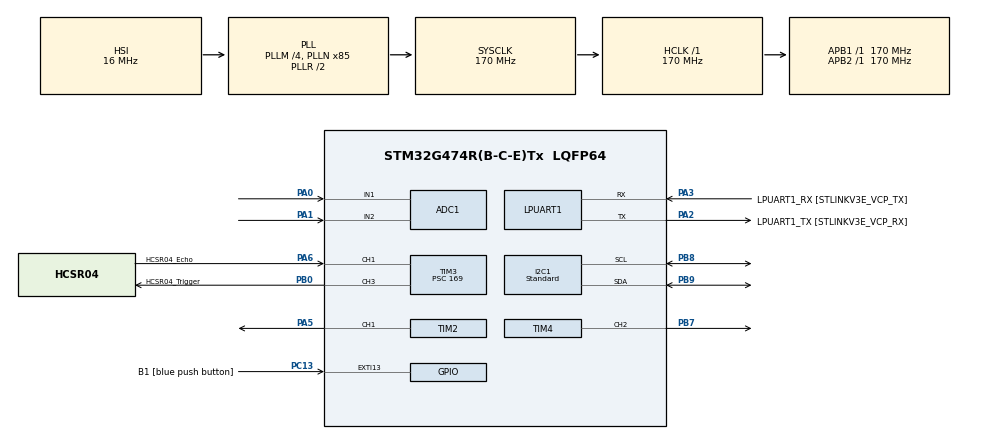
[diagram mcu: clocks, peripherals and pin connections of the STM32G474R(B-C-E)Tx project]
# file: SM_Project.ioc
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ADC1.Channel-0\#ChannelRegularConversion=ADC_CHANNEL_1
ADC1.Channel-1\#ChannelRegularConversion=ADC_CHANNEL_2
ADC1.ContinuousConvMode=ENABLE
ADC1.DMAContinuousRequests=ENABLE
ADC1.NbrOfConversion=2
ADC1.NbrOfConversionFlag=1
ADC1.OffsetNumber-0\#ChannelRegularConversion=ADC_OFFSET_NONE
ADC1.OffsetNumber-1\#ChannelRegularConversion=ADC_OFFSET_NONE
ADC1.Rank-0\#ChannelRegularConversion=1
ADC1.Rank-1\#ChannelRegularConversion=2
ADC1.SamplingTime-0\#ChannelRegularConversion=ADC_SAMPLETIME_92CYCLES_5
ADC1.SamplingTime-1\#ChannelRegularConversion=ADC_SAMPLETIME_92CYCLES_5
ADC1.master=1
Dma.ADC1.0.Direction=DMA_PERIPH_TO_MEMORY
Dma.ADC1.0.EventEnable=DISABLE
Dma.ADC1.0.Instance=DMA1_Channel1
Dma.ADC1.0.MemDataAlignment=DMA_MDATAALIGN_HALFWORD
Dma.ADC1.0.MemInc=DMA_MINC_ENABLE
Dma.ADC1.0.Mode=DMA_CIRCULAR
Dma.ADC1.0.PeriphDataAlignment=DMA_PDATAALIGN_HALFWORD
Dma.ADC1.0.PeriphInc=DMA_PINC_DISABLE
Dma.ADC1.0.Polarity=HAL_DMAMUX_REQ_GEN_RISING
Dma.ADC1.0.Priority=DMA_PRIORITY_LOW
Dma.ADC1.0.RequestNumber=1
Dma.ADC1.0.SignalID=NONE
Dma.ADC1.0.SyncEnable=DISABLE
Dma.ADC1.0.SyncPolarity=HAL_DMAMUX_SYNC_NO_EVENT
Dma.ADC1.0.SyncRequestNumber=1
Dma.ADC1.0.SyncSignalID=NONE
Dma.Request0=ADC1
I2C1.I2C_Speed_Mode=I2C_Standard
I2C1.Timing=0x40B285C2
Mcu.Family=STM32G4
Mcu.Name=STM32G474R(B-C-E)Tx
Mcu.Package=LQFP64
NVIC.DMA1_Channel1_IRQn=true\:0\:0\:false\:false\:true\:false\:true\:true
NVIC.EXTI15_10_IRQn=true\:0\:0\:false\:false\:true\:true\:true\:true
NVIC.PriorityGroup=NVIC_PRIORITYGROUP_4
NVIC.TIM3_IRQn=true\:0\:0\:false\:false\:true\:true\:true\:true
PA0.Mode=IN1-Single-Ended
PA0.Signal=ADC1_IN1
PA1.Mode=IN2-Single-Ended
PA1.Signal=ADC1_IN2
PA13.GPIO_Label=T_SWDIO
PA13.Mode=Serial_Wire
PA13.Signal=SYS_JTMS-SWDIO
PA14.GPIO_Label=T_SWCLK
PA14.Mode=Serial_Wire
PA14.Signal=SYS_JTCK-SWCLK
PA2.GPIO_Label=LPUART1_TX [STLINKV3E_VCP_RX]
PA2.Mode=Asynchronous
PA2.Signal=LPUART1_TX
PA3.GPIO_Label=LPUART1_RX [STLINKV3E_VCP_TX]
PA3.Mode=Asynchronous
PA3.Signal=LPUART1_RX
PA5.Signal=S_TIM2_CH1
PA6.GPIO_Label=HCSR04_Echo
PA6.Signal=S_TIM3_CH1
PB0.GPIO_Label=HCSR04_Trigger
PB0.Signal=S_TIM3_CH3
PB3.GPIO_Label=T_SWO
PB3.Signal=SYS_JTDO-SWO
PB7.Signal=S_TIM4_CH2
PB8-BOOT0.Mode=I2C
PB8-BOOT0.Signal=I2C1_SCL
PB9.Mode=I2C
PB9.Signal=I2C1_SDA
PC13.GPIO_Label=B1 [blue push button]
PC13.Signal=GPXTI13
PC14-OSC32_IN.GPIO_Label=RCC_OSC32_IN
PC14-OSC32_IN.Mode=LSE-External-Oscillator
PC14-OSC32_IN.Signal=RCC_OSC32_IN
PC15-OSC32_OUT.GPIO_Label=RCC_OSC32_OUT
PC15-OSC32_OUT.Mode=LSE-External-Oscillator
PC15-OSC32_OUT.Signal=RCC_OSC32_OUT
PF0-OSC_IN.GPIO_Label=RCC_OSC_IN
PF0-OSC_IN.Mode=HSE-External-Oscillator
PF0-OSC_IN.Signal=RCC_OSC_IN
PF1-OSC_OUT.GPIO_Label=RCC_OSC_OUT
PF1-OSC_OUT.Mode=HSE-External-Oscillator
PF1-OSC_OUT.Signal=RCC_OSC_OUT
ProjectManager.HeapSize=0x200
ProjectManager.StackSize=0x400
ProjectManager.TargetToolchain=STM32CubeIDE
RCC.ADC12Freq_Value=170000000
RCC.ADC345Freq_Value=170000000
RCC.AHBFreq_Value=170000000
RCC.APB1Freq_Value=170000000
RCC.APB1TimFreq_Value=170000000
RCC.APB2Freq_Value=170000000
RCC.APB2TimFreq_Value=170000000
RCC.CortexFreq_Value=170000000
RCC.EXTERNAL_CLOCK_VALUE=12288000
RCC.HCLKFreq_Value=170000000
RCC.HSE_VALUE=24000000
RCC.HSI48_VALUE=48000000
RCC.HSI_VALUE=16000000
RCC.PLLM=RCC_PLLM_DIV4
RCC.PLLN=85
RCC.RTCClockSelection=RCC_RTCCLKSOURCE_LSE
RCC.SYSCLKFreq_VALUE=170000000
RCC.SYSCLKSource=RCC_SYSCLKSOURCE_PLLCLK
RCC.USBFreq_Value=170000000
RCC.VCOOutputFreq_Value=340000000
SH.S_TIM2_CH1.0=TIM2_CH1,PWM Generation1 CH1
SH.S_TIM3_CH1.0=TIM3_CH1,Input_Capture1_from_TI1
SH.S_TIM3_CH3.0=TIM3_CH3,PWM Generation3 CH3
SH.S_TIM4_CH2.0=TIM4_CH2,PWM Generation2 CH2
TIM2.Channel-PWM\ Generation1\ CH1=TIM_CHANNEL_1
TIM2.PeriodNoDither=999
TIM2.Prescaler=84
TIM2.PulseNoDither_1=499
TIM3.Channel-Input_Capture1_from_TI1=TIM_CHANNEL_1
TIM3.Channel-Input_Capture2_from_TI1_63=TIM_CHANNEL_2
TIM3.Channel-PWM\ Generation3\ CH3=TIM_CHANNEL_3
TIM3.ICPolarity_CH2=TIM_INPUTCHANNELPOLARITY_FALLING
TIM3.Prescaler=169
TIM3.PulseNoDither_3=11
TIM4.AutoReloadPreload=TIM_AUTORELOAD_PRELOAD_ENABLE
TIM4.Channel-PWM\ Generation2\ CH2=TIM_CHANNEL_2
TIM4.PeriodNoDither=19999
TIM4.Prescaler=169
VP_SYS_VS_DBSignals.Mode=DisableDeadBatterySignals
VP_TIM2_VS_ClockSourceINT.Mode=Internal
VP_TIM3_VS_ClockSourceINT.Mode=Internal
VP_TIM3_VS_indirect_ch1.Mode=Input_Capture2_from_TI1_63
VP_TIM4_VS_ClockSourceINT.Mode=Internal
board=NUCLEO-G474RE

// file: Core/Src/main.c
/* USER CODE BEGIN Header */
/**
  ******************************************************************************
  * @file           : main.c
  * @brief          : Main program body
  ******************************************************************************
  * @attention
  *
  * Copyright (c) 2026 STMicroelectronics.
  * All rights reserved.
  *
  * This software is licensed under terms that can be found in the LICENSE file
  * in the root directory of this software component.
  * If no LICENSE file comes with this software, it is provided AS-IS.
  *
  ******************************************************************************
  */
/* USER CODE END Header */
#include "main.h"
#include "adc.h"
#include "dma.h"
#include "i2c.h"
#include "usart.h"
#include "tim.h"
#include "gpio.h"

/* USER CODE BEGIN Includes */
#include "hcsr04.h"
#include "SSD1306_OLED.h"
#include "GFX_BW.h"
#include "fonts/fonts.h"
#include <stdio.h>
#include "servo.h"
/* USER CODE END Includes */

/* USER CODE BEGIN PM */
#define HCSR04_TRIGGER_TIMER		htim3
#define HCSR04_ECHO_TIMER			htim3
#define HCSR04_TRIGGER_CHANNEL		TIM_CHANNEL_3
#define HCSR04_ECHO_START_CHANNEL	TIM_CHANNEL_1
#define HCSR04_ECHO_STOP_CHANNEL	TIM_CHANNEL_2

#define ADC_CHANNELS_USED				2
#define ADC_CHANNELS_SAMPLES			10
#define ADC_MIN							0
#define ADC_MAX							4095
/* USER CODE END PM */

/* USER CODE BEGIN PV */
// Creation of rangefinder and servo "objects"
HCSR04_t HCSR04;
servo_t SERVO;

// Variable for storing the distance from HCSR04
uint16_t Distance_u16;

// Variable storing the corresponding LED duty cycle
uint16_t LedBrightness;

// 10 measurements for each channel
uint16_t AdcValue[ADC_CHANNELS_SAMPLES][ADC_CHANNELS_USED]; // index = 0 for CH1, index = 1 for CH2

// Variables for storing the average value from 10 ADC measurements
uint16_t MeanX, MeanY;

uint32_t SoftTimerHCSR04;
uint32_t SoftTimerOLED;

char MessageDist[32];
char MessageX[32];
char MessageY[32];
char MessageAngle[32];
/* USER CODE END PV */

void SystemClock_Config(void);

/* USER CODE BEGIN 0 */

// Function for mapping LED brightness depending on distance
// The closer the object, the brighter the LED
float map_distance_led_PWM(float d_cm)
{
    const float d_min = 2.0f;
    const float d_max = 50.0f;

    if (d_cm <= d_min) return 999;
    if (d_cm >= d_max) return 0;

    float t = (d_max - d_cm) / (d_max - d_min);
    return (t * 999.0f);
}

// Function for averaging ADC values (for channels 0 and 1)
void Average_ADC_Values(uint16_t AdcValue[10][2], uint16_t *MeanX, uint16_t *MeanY)
{
    uint32_t MeanXtmp = 0;
    uint32_t MeanYtmp = 0;

    // Summing values from 10 measurements (in this case 10 samples)
    for (uint8_t i = 0; i < 10; i++)
    {
        MeanXtmp += AdcValue[i][0];  // Reading for X channel (e.g. joystick)
        MeanYtmp += AdcValue[i][1];  // Reading for Y channel (e.g. joystick)
    }

    // Calculating averages
    *MeanX = MeanXtmp / 10;
    *MeanY = MeanYtmp / 10;
}

/* USER CODE END 0 */

int main(void)
{

  /* MCU Configuration--------------------------------------------------------*/

  /* Reset of all peripherals, Initializes the Flash interface and the Systick. */
  HAL_Init();

  /* Configure the system clock */
  SystemClock_Config();

  /* Initialize all configured peripherals */
  MX_GPIO_Init();
  MX_DMA_Init();
  MX_I2C1_Init();
  MX_LPUART1_UART_Init();
  MX_TIM3_Init();
  MX_TIM2_Init();
  MX_ADC1_Init();
  MX_TIM4_Init();
  /* USER CODE BEGIN 2 */

  // Starts ADC conversion using DMA; results from ADC channels will be automatically stored in the AdcValue array (joystick reading)
  HAL_ADC_Start_DMA(&hadc1, (uint32_t*)AdcValue, (ADC_CHANNELS_SAMPLES*ADC_CHANNELS_USED));

  // Starts PWM signal generation on timer 2 channel 1 (used to control LED brightness)
  HAL_TIM_PWM_Start(&htim2, TIM_CHANNEL_1);

  // Initialization of the rangefinder, servo and OLED
  HCSR04_Init(&HCSR04, &HCSR04_TRIGGER_TIMER, HCSR04_TRIGGER_CHANNEL, &HCSR04_ECHO_TIMER, HCSR04_ECHO_START_CHANNEL, HCSR04_ECHO_STOP_CHANNEL);
  Servo_Init(&SERVO, &htim4, TIM_CHANNEL_2);
  SSD1306_Init(&hi2c1);

  // Assign font
  GFX_SetFont(font_8x5);
  GFX_SetFontSize(1);

  // Set all pixels to black (off) in the buffer
  // Clear the buffer
  SSD1306_Clear(BLACK);

  // Send the buffer to the display
  SSD1306_Display();

  SoftTimerHCSR04 = HAL_GetTick();
  SoftTimerOLED = HAL_GetTick();
  /* USER CODE END 2 */

  /* Infinite loop */
  while (1)
  {

    /* USER CODE BEGIN 3 */

  	// Calculating the average value for X and Y joystick axes
  	Average_ADC_Values(AdcValue, &MeanX, &MeanY);

  	// Mapping the Y axis to an angle range of 0–180°
  	uint16_t AngleY = map(MeanY, ADC_MIN, ADC_MAX, ANGLE_MIN, ANGLE_MAX);

  	// Changing the servo position according to the calculated angle from the Y axis
  	Servo_SetAngle(&SERVO, AngleY);

  	// Checking if 50 ms have passed since the last HCSR04 distance measurement
  	if((HAL_GetTick() - SoftTimerHCSR04) > 50){
  		// Updating the timer for the next HCSR04 measurement
  		SoftTimerHCSR04 = HAL_GetTick();

  		// Calculating the distance
  		HCSR04_CalculateResultInteger(&HCSR04, &Distance_u16);

  		// Mapping distance to PWM value for the LED (the closer the object, the higher the brightness)
  		LedBrightness = map_distance_led_PWM(Distance_u16);

  		// Setting PWM duty cycle on timer 2 channel 1, which controls LED brightness
  		__HAL_TIM_SET_COMPARE(&htim2, TIM_CHANNEL_1, LedBrightness);
  	}

  	// Checking if 100 ms have passed since the last OLED display update
  	if((HAL_GetTick() - SoftTimerOLED) > 100){
  		// Updating the timer for the next OLED drawing cycle
  		SoftTimerOLED = HAL_GetTick();

  		// Setting all pixels to black,
  		// clearing the buffer before displaying new data
  		SSD1306_Clear(BLACK);

  		sprintf(MessageDist, "Distance: %u cm", Distance_u16);
  		// Displaying the distance measured by the HCSR04
  		GFX_DrawString(0, 0, MessageDist, WHITE, 0);

  		sprintf(MessageX, "X: %u", MeanX);
  		// Displaying the X value of the joystick
  		GFX_DrawString(0, 10, MessageX, WHITE, 0);

  		sprintf(MessageY, "Y: %u", MeanY);
  		// Displaying the Y value of the joystick
  		GFX_DrawString(0, 20, MessageY, WHITE, 0);

  		// Function for displaying the angle with the degree symbol (°)
  		DrawAngleWithDegree(AngleY);

  		// Sending data from the buffer to the display
  		SSD1306_Display();
  	}

  }
  /* USER CODE END 3 */
}

void SystemClock_Config(void)
{
  RCC_OscInitTypeDef RCC_OscInitStruct = {0};
  RCC_ClkInitTypeDef RCC_ClkInitStruct = {0};

  /** Configure the main internal regulator output voltage
  */
  HAL_PWREx_ControlVoltageScaling(PWR_REGULATOR_VOLTAGE_SCALE1_BOOST);

  /** Initializes the RCC Oscillators according to the specified parameters
  * in the RCC_OscInitTypeDef structure.
  */
  RCC_OscInitStruct.OscillatorType = RCC_OSCILLATORTYPE_HSI;
  RCC_OscInitStruct.HSIState = RCC_HSI_ON;
  RCC_OscInitStruct.HSICalibrationValue = RCC_HSICALIBRATION_DEFAULT;
  RCC_OscInitStruct.PLL.PLLState = RCC_PLL_ON;
  RCC_OscInitStruct.PLL.PLLSource = RCC_PLLSOURCE_HSI;
  RCC_OscInitStruct.PLL.PLLM = RCC_PLLM_DIV4;
  RCC_OscInitStruct.PLL.PLLN = 85;
  RCC_OscInitStruct.PLL.PLLP = RCC_PLLP_DIV2;
  RCC_OscInitStruct.PLL.PLLQ = RCC_PLLQ_DIV2;
  RCC_OscInitStruct.PLL.PLLR = RCC_PLLR_DIV2;
  if (HAL_RCC_OscConfig(&RCC_OscInitStruct) != HAL_OK)
  {
    Error_Handler();
  }

  /** Initializes the CPU, AHB and APB buses clocks
  */
  RCC_ClkInitStruct.ClockType = RCC_CLOCKTYPE_HCLK|RCC_CLOCKTYPE_SYSCLK
                              |RCC_CLOCKTYPE_PCLK1|RCC_CLOCKTYPE_PCLK2;
  RCC_ClkInitStruct.SYSCLKSource = RCC_SYSCLKSOURCE_PLLCLK;
  RCC_ClkInitStruct.AHBCLKDivider = RCC_SYSCLK_DIV1;
  RCC_ClkInitStruct.APB1CLKDivider = RCC_HCLK_DIV1;
  RCC_ClkInitStruct.APB2CLKDivider = RCC_HCLK_DIV1;

  if (HAL_RCC_ClockConfig(&RCC_ClkInitStruct, FLASH_LATENCY_4) != HAL_OK)
  {
    Error_Handler();
  }
}

/* USER CODE BEGIN 4 */
void HAL_TIM_IC_CaptureCallback(TIM_HandleTypeDef *htim)
{
    /*
     * Check if interrupt comes from the timer used
     * for HC-SR04 echo measurement
     */
	if(htim == HCSR04.htim_echo)
	{
        /*
         * Call the sensor interrupt handler
         * which calculates echo pulse duration
         */
		HCSR04_InterruptHandler(&HCSR04);
	}
}

void SetChannel(uint32_t Channel){
	/** Configure Regular Channel
	*/
	ADC_ChannelConfTypeDef sConfig = {0};
	sConfig.Channel = Channel;
	sConfig.Rank = ADC_REGULAR_RANK_1;
	sConfig.SamplingTime = ADC_SAMPLETIME_2CYCLES_5;
	sConfig.SingleDiff = ADC_SINGLE_ENDED;
	sConfig.OffsetNumber = ADC_OFFSET_NONE;
	sConfig.Offset = 0;
	if(HAL_ADC_ConfigChannel(&hadc1, &sConfig) != HAL_OK)
	{
	Error_Handler();
	}
}
/* USER CODE END 4 */

void Error_Handler(void)
{
  __disable_irq();
  while (1)
  {
  }
}
